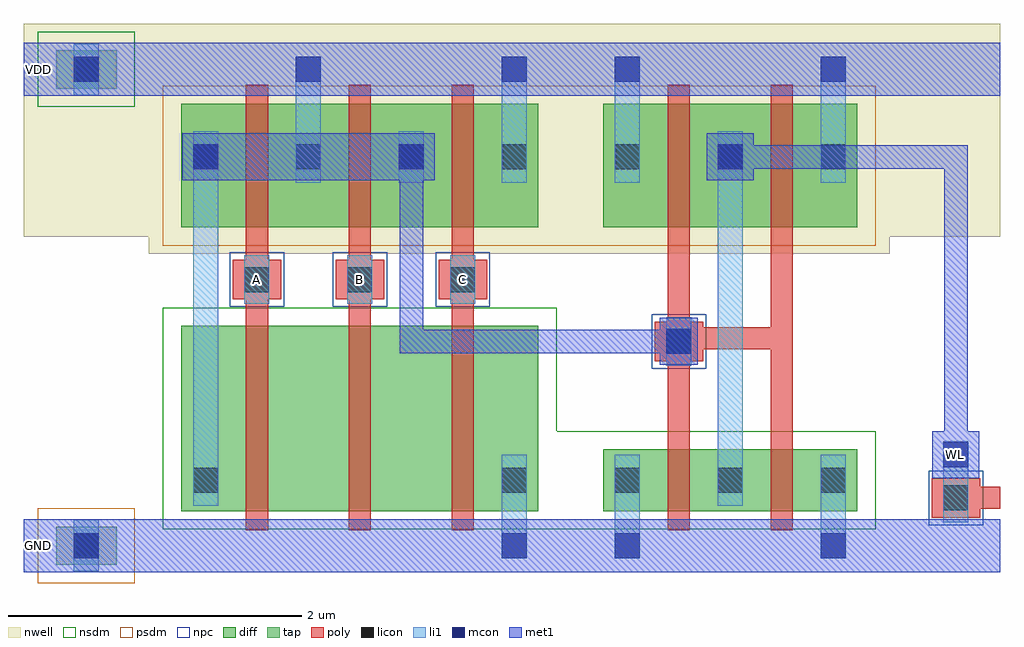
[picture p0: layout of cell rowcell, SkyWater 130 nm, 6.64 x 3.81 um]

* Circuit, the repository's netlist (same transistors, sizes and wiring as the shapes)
* NGSPICE file created from rowcell.ext - technology: sky130A

.subckt nand3 A B C Y VDD GND w_0_397# VSUBS
X0 a_302_47# B a_162_47# VSUBS sky130_fd_pr__nfet_01v8 ad=0.3465 pd=1.81 as=0.3465 ps=1.81 w=1.26 l=0.15
X1 VDD C Y w_0_397# sky130_fd_pr__pfet_01v8 ad=0.3696 pd=2.56 as=0.231 ps=1.39 w=0.84 l=0.15
X2 Y B VDD w_0_397# sky130_fd_pr__pfet_01v8 ad=0.231 pd=1.39 as=0.231 ps=1.39 w=0.84 l=0.15
X3 VDD A Y w_0_397# sky130_fd_pr__pfet_01v8 ad=0.231 pd=1.39 as=0.3696 ps=2.56 w=0.84 l=0.15
X4 GND C a_302_47# VSUBS sky130_fd_pr__nfet_01v8 ad=0.5544 pd=3.4 as=0.3465 ps=1.81 w=1.26 l=0.15
X5 a_162_47# A Y VSUBS sky130_fd_pr__nfet_01v8 ad=0.3465 pd=1.81 as=0.5544 ps=3.4 w=1.26 l=0.15
.ends

.subckt wldrv A Y VDD GND w_0_397# VSUBS
X0 GND A Y VSUBS sky130_fd_pr__nfet_01v8 ad=0.1848 pd=1.72 as=0.1155 ps=0.97 w=0.42 l=0.15
X1 VDD A Y w_0_397# sky130_fd_pr__pfet_01v8 ad=0.3696 pd=2.56 as=0.231 ps=1.39 w=0.84 l=0.15
X2 Y A VDD w_0_397# sky130_fd_pr__pfet_01v8 ad=0.231 pd=1.39 as=0.3696 ps=2.56 w=0.84 l=0.15
X3 Y A GND VSUBS sky130_fd_pr__nfet_01v8 ad=0.1155 pd=0.97 as=0.1848 ps=1.72 w=0.42 l=0.15
.ends

.subckt rowslice A B C WL VDD GND
Xn3 A B C wd/A VDD GND VDD GND nand3
Xwd wd/A WL VDD GND VDD GND wldrv
.ends

.subckt rowcell A B C WL VDD GND
Xs A B C WL VDD GND rowslice
.ends

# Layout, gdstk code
import gdstk
lib = gdstk.Library(unit=1e-6, precision=1e-09)
def R(c, l, rs):  # rectangles x0, y0, x1, y1
    for r in rs: c.add(gdstk.rectangle(r[:2], r[2:], *l))
def A(c, l, x, y, w, h, nx, ny, dx, dy):  # array of equal rectangles
    R(c, l, [(x+i*dx, y+j*dy, x+i*dx+w, y+j*dy+h) for i in range(nx) for j in range(ny)])
nwell = (64, 20)
diff = (65, 20)
tap = (65, 44)
poly = (66, 20)
licon = (66, 44)
li1 = (67, 20)
mcon = (67, 44)
met1 = (68, 20)
nsdm = (93, 44)
psdm = (94, 20)
npc = (95, 20)

wldrv = lib.new_cell('wldrv')
R(wldrv, nwell, [(0,1.985,2.17,3.55)])
R(wldrv, diff, [(0.22,0.235,1.95,0.655), (0.22,2.165,1.95,3.005)])
R(wldrv, poly, [(0.66,0.105,0.81,1.255), (1.36,0.105,1.51,1.335), (0.57,1.255,0.9,1.335), (0.57,1.335,1.51,1.485), (0.57,1.485,0.9,1.525), (1.36,1.485,1.51,3.135), (0.66,1.525,0.81,3.135)])
A(wldrv, licon, 0.3, 0.36, 0.17, 0.17, 3, 2, 0.7, 2.2)
R(wldrv, licon, [(0.65,1.305,0.82,1.475)])
R(wldrv, li1, [(0.3,-0.085,0.47,0.62), (1.7,-0.085,1.87,0.62), (1,0.27,1.17,2.82), (0.65,1.225,0.82,1.555), (0.3,2.47,0.47,3.325), (1.7,2.47,1.87,3.325)])
R(wldrv, mcon, [(0.3,-0.085,0.47,0.085), (1.7,-0.085,1.87,0.085), (1,2.56,1.17,2.73), (0.3,3.155,0.47,3.325), (1.7,3.155,1.87,3.325)])
R(wldrv, met1, [(0,-0.18,2.17,0.18), (0.925,2.485,1.245,2.805), (0,3.06,2.17,3.42)])
R(wldrv, nsdm, [(0.095,0.11,2.075,0.78)])
R(wldrv, psdm, [(0.095,2.04,2.075,3.13)])
R(wldrv, npc, [(0.55,1.205,0.92,1.575)])
wldrv.add(gdstk.Label('A', (0.735,1.39), layer=67, texttype=5))
wldrv.add(gdstk.Label('Y', (1.085,2.645), layer=68, texttype=5))
wldrv.add(gdstk.Label('VDD', (0.1,3.24), layer=68, texttype=5))
wldrv.add(gdstk.Label('GND', (0.1,0), layer=68, texttype=5))

nand3 = lib.new_cell('nand3')
R(nand3, nwell, [(0,1.985,2.87,3.55)])
R(nand3, diff, [(0.22,0.235,2.65,1.495), (0.22,2.165,2.65,3.005)])
A(nand3, poly, 0.66, 0.105, 0.15, 1.57, 3, 1, 0.7, 0)
A(nand3, poly, 0.57, 1.675, 0.33, 0.27, 3, 1, 0.7, 0)
A(nand3, poly, 0.66, 1.945, 0.15, 1.19, 3, 1, 0.7, 0)
A(nand3, licon, 0.65, 1.725, 0.17, 0.17, 3, 1, 0.7, 0)
A(nand3, licon, 0.3, 2.56, 0.17, 0.17, 4, 1, 0.7, 0)
R(nand3, licon, [(0.3,0.36,0.47,0.53), (2.4,0.36,2.57,0.53)])
A(nand3, li1, 0.65, 1.645, 0.17, 0.33, 3, 1, 0.7, 0)
R(nand3, li1, [(2.4,-0.085,2.57,0.62), (0.3,0.27,0.47,2.82), (1,2.47,1.17,3.325), (1.7,2.47,1.87,2.82), (2.4,2.47,2.57,3.325)])
R(nand3, mcon, [(2.4,-0.085,2.57,0.085), (0.3,2.56,0.47,2.73), (1.7,2.56,1.87,2.73), (1,3.155,1.17,3.325), (2.4,3.155,2.57,3.325)])
R(nand3, met1, [(0,-0.18,2.87,0.18), (0.225,2.485,1.945,2.805), (0,3.06,2.87,3.42)])
R(nand3, nsdm, [(0.095,0.11,2.775,1.62)])
R(nand3, psdm, [(0.095,2.04,2.775,3.13)])
A(nand3, npc, 0.55, 1.625, 0.37, 0.37, 3, 1, 0.7, 0)
nand3.add(gdstk.Label('A', (0.735,1.81), layer=67, texttype=5))
nand3.add(gdstk.Label('B', (1.435,1.81), layer=67, texttype=5))
nand3.add(gdstk.Label('C', (2.135,1.81), layer=67, texttype=5))
nand3.add(gdstk.Label('Y', (0.385,2.645), layer=68, texttype=5))
nand3.add(gdstk.Label('VDD', (0.1,3.24), layer=68, texttype=5))
nand3.add(gdstk.Label('GND', (0.1,0), layer=68, texttype=5))

tap_ = lib.new_cell('tap')
R(tap_, nwell, [(0,2.1,0.85,3.55)])
R(tap_, tap, [(0.22,-0.13,0.63,0.13), (0.22,3.11,0.63,3.37)])
R(tap_, licon, [(0.34,-0.085,0.51,0.085), (0.34,3.155,0.51,3.325)])
R(tap_, li1, [(0.34,-0.175,0.51,0.175), (0.34,3.065,0.51,3.415)])
R(tap_, mcon, [(0.34,-0.085,0.51,0.085), (0.34,3.155,0.51,3.325)])
R(tap_, met1, [(0,-0.18,0.85,0.18), (0,3.06,0.85,3.42)])
R(tap_, nsdm, [(0.095,2.985,0.755,3.495)])
R(tap_, psdm, [(0.095,-0.255,0.755,0.255)])
tap_.add(gdstk.Label('VDD', (0.1,3.24), layer=68, texttype=5))
tap_.add(gdstk.Label('GND', (0.1,0), layer=68, texttype=5))

rowslice = lib.new_cell('rowslice')
A(rowslice, li1, 1.5, 1.725, 0.17, 0.17, 3, 1, 0.7, 0)
R(rowslice, li1, [(4.37,1.305,4.54,1.475)])
R(rowslice, mcon, [(4.37,1.305,4.54,1.475)])
R(rowslice, met1, [(0.015,-0.085,0.185,0.085), (4.325,1.23,4.585,1.31), (2.555,1.31,4.585,1.47), (2.555,1.47,2.715,2.645), (4.325,1.47,4.585,1.55), (4.72,2.56,4.89,2.73), (0.015,3.155,0.185,3.325)])
R(rowslice, nsdm, [(3.625,0.11,3.815,0.78)])
R(rowslice, psdm, [(3.625,2.04,3.815,3.13)])
rowslice.add(gdstk.Reference(wldrv, (3.72,0)))
rowslice.add(gdstk.Reference(nand3, (0.85,0)))
rowslice.add(gdstk.Reference(tap_, (0,0)))
rowslice.add(gdstk.Label('A', (1.585,1.81), layer=67, texttype=5))
rowslice.add(gdstk.Label('B', (2.285,1.81), layer=67, texttype=5))
rowslice.add(gdstk.Label('C', (2.985,1.81), layer=67, texttype=5))
rowslice.add(gdstk.Label('WL', (4.805,2.645), layer=68, texttype=5))
rowslice.add(gdstk.Label('VDD', (0.1,3.24), layer=68, texttype=5))
rowslice.add(gdstk.Label('GND', (0.1,0), layer=68, texttype=5))

rowcell = lib.new_cell('rowcell')
R(rowcell, nwell, [(5.89,2.1,6.64,3.55)])
R(rowcell, poly, [(6.175,0.19,6.505,0.25), (6.175,0.25,6.64,0.4), (6.175,0.4,6.505,0.46)])
R(rowcell, licon, [(6.255,0.24,6.425,0.41)])
A(rowcell, li1, 1.5, 1.725, 0.17, 0.17, 3, 1, 0.7, 0)
R(rowcell, li1, [(6.255,0.16,6.425,0.71)])
R(rowcell, mcon, [(6.255,0.535,6.425,0.705)])
R(rowcell, met1, [(5.89,-0.18,6.64,0.18), (0.015,-0.085,0.185,0.085), (6.18,0.46,6.5,0.78), (6.26,0.78,6.42,2.565), (4.805,2.565,6.42,2.725), (5.89,3.06,6.64,3.42), (0.015,3.155,0.185,3.325)])
R(rowcell, npc, [(6.155,0.14,6.525,0.51)])
rowcell.add(gdstk.Reference(rowslice, (0,0)))
rowcell.add(gdstk.Label('A', (1.585,1.81), layer=67, texttype=5))
rowcell.add(gdstk.Label('B', (2.285,1.81), layer=67, texttype=5))
rowcell.add(gdstk.Label('C', (2.985,1.81), layer=67, texttype=5))
rowcell.add(gdstk.Label('WL', (6.34,0.62), layer=68, texttype=5))
rowcell.add(gdstk.Label('VDD', (0.1,3.24), layer=68, texttype=5))
rowcell.add(gdstk.Label('GND', (0.1,0), layer=68, texttype=5))

lib.write_gds('rowcell.gds')
